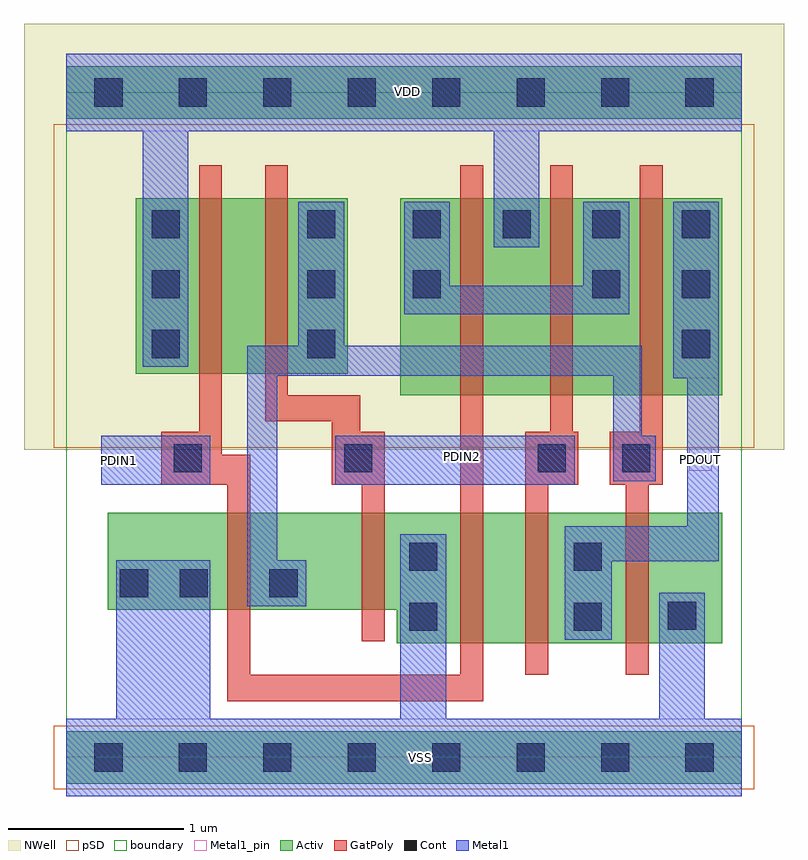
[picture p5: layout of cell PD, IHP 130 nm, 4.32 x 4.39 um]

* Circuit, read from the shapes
.subckt PD PDIN1 PDIN2 PDOUT VDD VSS
XM1 n1 PDIN1 VSS VSS sg13_lv_nmos w=0.55u l=0.13u
XM2 VSS PDIN2 n1 VSS sg13_lv_nmos w=0.55u l=0.13u
XM3 n2 PDIN1 VSS VSS sg13_lv_nmos w=0.74u l=0.13u
XM4 PDOUT PDIN2 n2 VSS sg13_lv_nmos w=0.74u l=0.13u
XM5 VSS n1 PDOUT VSS sg13_lv_nmos w=0.74u l=0.13u
XM6 n3 PDIN1 VDD VDD sg13_lv_pmos w=1u l=0.13u
XM7 n1 PDIN2 n3 VDD sg13_lv_pmos w=1u l=0.13u
XM8 VDD PDIN1 n4 VDD sg13_lv_pmos w=1.12u l=0.13u
XM9 n4 PDIN2 VDD VDD sg13_lv_pmos w=1.12u l=0.13u
XM10 PDOUT n1 n4 VDD sg13_lv_pmos w=1.12u l=0.13u
.ends

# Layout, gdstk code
import gdstk
lib = gdstk.Library(unit=1e-6, precision=1e-09)
def R(c, l, rs):  # rectangles x0, y0, x1, y1
    for r in rs: c.add(gdstk.rectangle(r[:2], r[2:], *l))
def A(c, l, x, y, w, h, nx, ny, dx, dy):  # array of equal rectangles
    R(c, l, [(x+i*dx, y+j*dy, x+i*dx+w, y+j*dy+h) for i in range(nx) for j in range(ny)])
def P(c, l, *ps):  # polygons
    for p in ps: c.add(gdstk.Polygon(p, *l))
Activ = (1, 0)
GatPoly = (5, 0)
Cont = (6, 0)
Metal1 = (8, 0)
Metal1_pin = (8, 2)
pSD = (14, 0)
NWell = (31, 0)
boundary = (189, 4)

sg13g2_xor2_1 = lib.new_cell('sg13g2_xor2_1')
R(sg13g2_xor2_1, Activ, [(27.585,53.605,31.425,53.905), (29.485,55.815,31.315,56.935), (27.98,55.935,29.185,56.935), (27.585,57.385,31.425,57.685)])
P(sg13g2_xor2_1, Activ, [(29.465,54.405),(29.465,54.595),(27.82,54.595),(27.82,55.145),(31.315,55.145),(31.315,54.405)])
P(sg13g2_xor2_1, GatPoly, [(29.265,54.415),(29.265,55.305),(29.095,55.305),(29.095,55.665),(28.715,55.665),(28.715,57.12),(28.845,57.12),(28.845,55.815),(29.255,55.815),(29.255,55.605),(29.395,55.605),(29.395,54.415)],
  [(30.195,54.225),(30.195,55.605),(30.335,55.605),(30.335,57.12),(30.465,57.12),(30.465,55.605),(30.495,55.605),(30.495,55.305),(30.325,55.305),(30.325,54.225)],
  [(30.765,54.225),(30.765,55.305),(30.675,55.305),(30.675,55.605),(30.845,55.605),(30.845,57.12),(30.975,57.12),(30.975,55.305),(30.895,55.305),(30.895,54.225)],
  [(28.5,54.075),(28.5,55.305),(28.125,55.305),(28.125,55.605),(28.34,55.605),(28.34,57.12),(28.47,57.12),(28.47,55.475),(28.63,55.475),(28.63,54.225),(29.825,54.225),(29.825,57.12),(29.955,57.12),(29.955,54.075)])
A(sg13g2_xor2_1, Cont, 27.745, 53.675, 0.16, 0.16, 8, 2, 0.48, 3.78)
A(sg13g2_xor2_1, Cont, 28.07, 56.025, 0.16, 0.16, 1, 3, 0, 0.34)
A(sg13g2_xor2_1, Cont, 28.955, 56.025, 0.16, 0.16, 1, 3, 0, 0.34)
A(sg13g2_xor2_1, Cont, 29.555, 56.705, 0.16, 0.16, 4, 1, 0.51, 0)
R(sg13g2_xor2_1, Cont, [(29.535,54.475,29.695,54.635), (30.47,54.475,30.63,54.635), (31.005,54.48,31.165,54.64), (27.89,54.665,28.05,54.825), (28.23,54.665,28.39,54.825), (28.74,54.665,28.9,54.825), (29.535,54.815,29.695,54.975), (30.47,54.815,30.63,54.975), (28.195,55.375,28.355,55.535), (29.165,55.375,29.325,55.535), (30.265,55.375,30.425,55.535), (30.745,55.375,30.905,55.535), (31.085,56.025,31.245,56.185), (29.555,56.365,29.715,56.525), (30.575,56.365,30.735,56.525), (31.085,56.365,31.245,56.525)])
R(sg13g2_xor2_1, Metal1, [(27.785,55.305,28.405,55.585), (29.115,55.305,30.475,55.585)])
P(sg13g2_xor2_1, Metal1, [(29.505,56.275),(29.505,56.915),(29.765,56.915),(29.765,56.435),(30.525,56.435),(30.525,56.915),(30.785,56.915),(30.785,56.275)],
  [(28.02,55.975),(28.02,57.315),(27.585,57.315),(27.585,57.755),(31.425,57.755),(31.425,57.315),(30.275,57.315),(30.275,56.655),(30.015,56.655),(30.015,57.315),(28.28,57.315),(28.28,55.975)],
  [(27.585,53.535),(27.585,53.975),(27.87,53.975),(27.87,54.875),(28.405,54.875),(28.405,53.975),(29.485,53.975),(29.485,55.025),(29.745,55.025),(29.745,53.975),(30.955,53.975),(30.955,54.69),(31.215,54.69),(31.215,53.975),(31.425,53.975),(31.425,53.535)],
  [(30.42,54.425),(30.42,55.07),(31.115,55.07),(31.115,55.91),(31.035,55.91),(31.035,56.915),(31.295,56.915),(31.295,54.87),(30.685,54.87),(30.685,54.425)],
  [(28.615,54.615),(28.615,56.095),(28.905,56.095),(28.905,56.915),(29.165,56.915),(29.165,56.095),(30.855,56.095),(30.855,55.585),(30.935,55.585),(30.935,55.325),(30.695,55.325),(30.695,55.925),(28.785,55.925),(28.785,54.875),(28.95,54.875),(28.95,54.615)])
R(sg13g2_xor2_1, Metal1_pin, [(27.585,53.535,31.425,53.975), (27.785,55.305,28.405,55.585), (29.115,55.305,30.475,55.585), (31.035,55.91,31.295,56.915), (27.585,57.315,31.425,57.755)])
R(sg13g2_xor2_1, pSD, [(27.515,53.575,31.495,53.935), (27.515,55.515,31.495,57.355)])
R(sg13g2_xor2_1, NWell, [(27.345,55.505,31.665,57.925)])
R(sg13g2_xor2_1, boundary, [(27.585,53.755,31.425,57.535)])
sg13g2_xor2_1.add(gdstk.Label('X', (31.09,56.39), layer=8, texttype=25))
sg13g2_xor2_1.add(gdstk.Label('VDD', (29.885,57.53), layer=8, texttype=25))
sg13g2_xor2_1.add(gdstk.Label('B', (29.84,55.48), layer=8, texttype=25))
sg13g2_xor2_1.add(gdstk.Label('A', (28.105,55.385), layer=8, texttype=25))
sg13g2_xor2_1.add(gdstk.Label('VSS', (29.675,53.775), layer=8, texttype=25))

c_pd = lib.new_cell('PD')
R(c_pd, Metal1_pin, [(29.535,53.69,29.665,53.82), (27.825,55.38,27.955,55.51), (31.125,55.385,31.255,55.515), (29.77,55.4,29.9,55.53), (29.46,57.475,29.59,57.605)])
c_pd.add(gdstk.Reference(sg13g2_xor2_1, (0,0)))
c_pd.add(gdstk.Label('PDIN1', (27.89,55.445), layer=8, texttype=25))
c_pd.add(gdstk.Label('PDIN2', (29.835,55.465), layer=8, texttype=25))
c_pd.add(gdstk.Label('PDOUT', (31.19,55.45), layer=8, texttype=25))
c_pd.add(gdstk.Label('VDD', (29.525,57.54), layer=8, texttype=25))
c_pd.add(gdstk.Label('VSS', (29.6,53.755), layer=8, texttype=25))

lib.write_gds('PD.gds')
